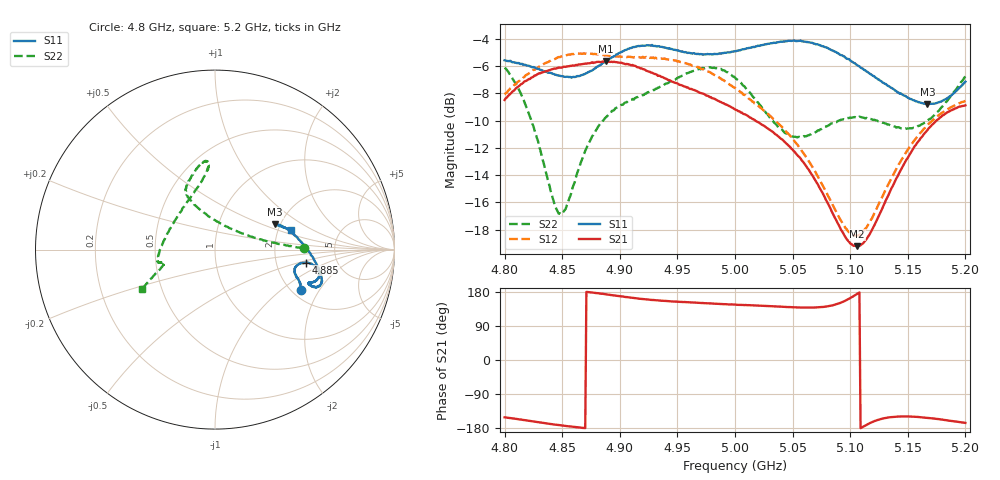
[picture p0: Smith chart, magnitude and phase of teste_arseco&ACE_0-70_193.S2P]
! Network Analyzer HP8722D
! Hewlett-Packard
! Data name: Linha & Wilkinson
! Saver's name: Rodrigo Anjos
! Comments: Teste da utilização de aquisição
! continua pelo VNA HP8722D
! Time and date: 8/5/2025 14:22
!  Frequency  S11  S21  S12  S22
# HZ  S  MA R 50
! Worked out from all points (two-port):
!   401 points, 4.8 GHz to 5.2 GHz, reference 50 ohm
!   highest |S21| = -5.62 dB at 4.888 GHz (marker M1); lowest = -19.2 dB at 5.106 GHz (marker M2)
!   |S21| within 3 dB of the highest: start of sweep to 4.987 GHz
!   lowest |S11| = -8.8 dB at 5.167 GHz (marker M3), VSWR 2.14, Z = 93.8 + j30.7 ohm
!   |S11| at or under -10 dB: nowhere
!   |S22| runs from -16.9 to -6.1 dB; largest |S21 - S12| = 1.1
!   S11 on the Smith chart (normalised r, x): 4.8 GHz: 2.24, -1.38; 4.885 GHz: 2.99, -0.59; 5.2 GHz: 2.36, +0.64
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4.8e9  0.527 -25.1  0.3767 -151.3  0.395 8.0  0.4946 0.8
4.821e9  0.503 -20.6  0.4496 -160.4  0.4716 4.8  0.3365 6.4
4.842e9  0.4695 -17.2  0.4895 -169.7  0.5286 1.7  0.1629 37.9
4.847e9  0.4634 -16.4  0.4958 -171.6  0.5417 0.8  0.1439 56.5
4.853e9  0.4579 -15.0  0.4983 -173.8  0.5481 -0.3  0.1499 79.7
4.867e9  0.4653 -10.8  0.5098 -178.8  0.5568 -2.5  0.2264 109.2
4.885e9  0.514 -8.1  0.5213 174.8  0.5507 -3.5  0.3149 116.7
4.888e9  0.5221 -8.1  0.5237 173.4  0.5509 -3.4  0.3256 117.1
4.913e9  0.5896 -11.9  0.5032 163.3  0.5416 -2.6  0.3823 114.8
4.934e9  0.5935 -16.6  0.4622 156.9  0.5375 -3.6  0.419 109.2
4.976e9  0.5558 -19.6  0.3907 149.5  0.4799 -7.0  0.4966 96.5
5e9  0.5696 -20.6  0.3479 146.0  0.4174 -6.9  0.4548 95.2
5.043e9  0.6173 -18.7  0.2645 140.3  0.2932 1.2  0.286 130.8
5.067e9  0.6108 -13.9  0.1996 138.4  0.2146 8.6  0.2837 165.1
5.094e9  0.5457 -4.3  0.1219 154.0  0.1313 33.8  0.3201 -172.9
5.106e9  0.506 1.2  0.1094 174.4  0.1197 56.9  0.3267 -168.7
5.116e9  0.4738 6.5  0.1193 -168.3  0.1321 75.7  0.3232 -167.1
5.134e9  0.4216 15.5  0.1715 -151.2  0.1877 94.3  0.3051 -166.0
5.152e9  0.3802 21.4  0.2387 -149.2  0.254 99.4  0.2964 -164.5
5.167e9  0.3639 23.0  0.2918 -152.6  0.3047 100.1  0.3164 -161.4
5.183e9  0.3796 20.4  0.336 -158.6  0.3455 100.0  0.3695 -157.1
5.2e9  0.4399 14.5  0.3601 -166.0  0.3739 100.7  0.4594 -151.6
